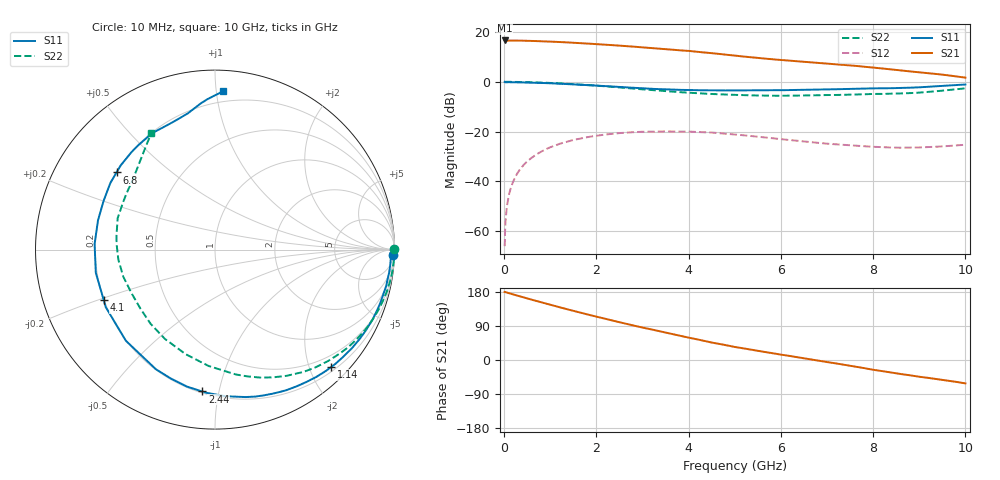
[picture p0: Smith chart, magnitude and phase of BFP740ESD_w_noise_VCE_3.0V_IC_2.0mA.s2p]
! Infineon Technologies  Discrete & RF Semiconductors
! BFP740ESD
! VCE =  3.0 V,  IC =  2.0 mA
! Common Emitter S-Parameters:  Jan 2016
# GHz  S  MA  R  50
!  f  S11  S21  S12  S22
! GHz  MAG  ANG  MAG  ANG  MAG  ANG  MAG  ANG
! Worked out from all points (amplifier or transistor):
!   233 points, 10 MHz to 10 GHz, reference 50 ohm
!   highest |S21| = 16.6 dB at 10 MHz (marker M1)
!   |S21| within 3 dB of that: start of sweep to 3.141 GHz
!   unconditionally stable (mu >= 1): start of sweep to 10.03426 MHz; 6.835 GHz to 9.565 GHz
!   at 200 MHz: K = 0.03, MSG = 28.2 dB, |S12| = -39.9 dB
!   at 1.74 GHz: K = 0.17, MSG = 18.9 dB, |S12| = -22.5 dB
!   at 10 GHz: K = 0.61, MSG = 13.5 dB, |S12| = -25.3 dB
!   lowest NFmin = 0.52 dB at 450 MHz
!   S11 on the Smith chart (normalised r, x): 10 MHz: 18, -58; 1.14 GHz: 0.28, -2.37; 2.44 GHz: 0.21, -0.89; 4.1 GHz: 0.20, -0.21; 6.8 GHz: 0.20, +0.33; 10 GHz: 0.13, +1.04
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0.01  0.9903 -1.8  6.755 179.6  0.0005 -2.7  0.9978 0.2
0.03  0.9791 -1.4  6.675 179.0  0.0016 86.2  0.9992 -0.9
0.07  0.9806 -2.9  6.704 177.5  0.0037 87.3  0.9988 -2.0
0.135  0.98 -5.4  6.732 175.3  0.0069 85.8  0.998 -3.9
0.24  0.9757 -9.6  6.712 171.5  0.0122 82.7  0.9955 -6.8
0.7  0.9538 -27.9  6.578 155.8  0.0348 69.3  0.972 -19.9
1.14  0.9205 -45.2  6.323 141.3  0.0542 56.7  0.9345 -32.1
1.4  0.8959 -55.5  6.146 132.8  0.0642 49.4  0.907 -39.3
1.68  0.8696 -66.2  5.949 124.1  0.0736 41.9  0.8749 -46.7
1.92  0.8468 -75.4  5.768 116.8  0.0806 35.8  0.8465 -52.9
2.44  0.7937 -95.1  5.368 101.5  0.0923 22.9  0.7782 -66.2
2.92  0.7482 -113.3  4.976 87.8  0.0984 11.6  0.714 -78.6
3.4  0.7112 -130.6  4.584 75.0  0.1003 1.4  0.658 -90.4
4.1  0.681 -155.5  4.073 56.6  0.0989 -12.1  0.5954 -108.4
4.5  0.6765 -169.0  3.77 46.0  0.0957 -19.6  0.5704 -119.3
5.1  0.6696 175.0  3.281 32.5  0.086 -28.3  0.5426 -132.9
6  0.6777 156.2  2.74 14.2  0.0703 -36.3  0.5247 -152.5
6.8  0.6971 141.9  2.389 -1.3  0.0595 -37.6  0.5358 -169.9
7.6  0.7213 126.6  2.095 -17.2  0.0521 -35.1  0.5545 171.9
8.4  0.7428 110.9  1.765 -33.3  0.0478 -29.3  0.5762 152.6
9  0.7738 101.3  1.549 -44.2  0.048 -23.4  0.6054 138.5
10  0.8821 87.2  1.211 -61.7  0.0544 -18.9  0.739 118.7
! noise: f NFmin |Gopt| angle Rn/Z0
0.45  0.52  0.67  7  0.22
0.9  0.55  0.67  18  0.22
1.9  0.63  0.57  42  0.18
2.4  0.73  0.51  59  0.2
5.5  1.22  0.38  165  0.09
10  2.98  0.7  -98  1.03
